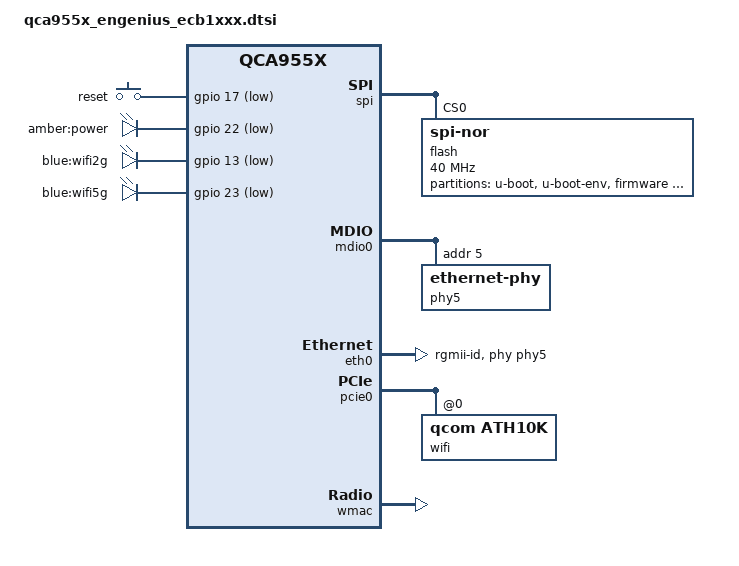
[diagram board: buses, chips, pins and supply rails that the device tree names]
// SPDX-License-Identifier: GPL-2.0-or-later OR MIT

#include "qca955x.dtsi"

#include <dt-bindings/gpio/gpio.h>
#include <dt-bindings/input/input.h>

/ {
	aliases {
		led-boot = &led_power;
		led-failsafe = &led_power;
		led-running = &led_power;
		led-upgrade = &led_power;
	};

	keys {
		compatible = "gpio-keys";

		reset {
			label = "reset";
			debounce-interval = <60>;
			gpios = <&gpio 17 GPIO_ACTIVE_LOW>;
			linux,code = <KEY_RESTART>;
		};
	};

	leds {
		compatible = "gpio-leds";

		led_power: power {
			label = "amber:power";
			gpios = <&gpio 22 GPIO_ACTIVE_LOW>;
			default-state = "on";
		};

		wifi2g {
			label = "blue:wifi2g";
			gpios = <&gpio 13 GPIO_ACTIVE_LOW>;
			linux,default-trigger = "phy1tpt";
		};

		wifi5g {
			label = "blue:wifi5g";
			gpios = <&gpio 23 GPIO_ACTIVE_LOW>;
			linux,default-trigger = "phy0tpt";
		};
	};
};

&spi {
	status = "okay";

	flash@0 {
		compatible = "jedec,spi-nor";
		reg = <0>;
		spi-max-frequency = <40000000>;

		partitions {
			compatible = "fixed-partitions";
			#address-cells = <1>;
			#size-cells = <1>;

			partition@0 {
				label = "u-boot";
				reg = <0x000000 0x040000>;
				read-only;
			};

			partition@40000 {
				label = "u-boot-env";
				reg = <0x040000 0x010000>;
			};

			partition@50000 {
				compatible = "denx,uimage";
				label = "firmware";
				reg = <0x050000 0xf50000>;
			};

			partition@fa0000 {
				label = "userconfig";
				reg = <0xfa0000 0x050000>;
				read-only;
			};

			partition@ff0000 {
				label = "art";
				reg = <0xff0000 0x010000>;
				read-only;
			};
		};
	};
};

&mdio0 {
	status = "okay";

	phy5: ethernet-phy@5 {
		reg = <5>;
		eee-broken-100tx;
		eee-broken-1000t;
	};
};

&eth0 {
	status = "okay";

	phy-handle = <&phy5>;
	phy-mode = "rgmii-id";

	pll-data = <0x82000000 0x80000101 0x80001313>;

	gmac-config {
		device = <&gmac>;
		rgmii-enabled = <1>;
	};
};

&pcie0 {
	status = "okay";

	wifi@0,0,0 {
		compatible = "qcom,ath10k";
		reg = <0x0 0 0 0 0>;
		qca,no-eeprom;
	};
};

&wmac {
	status = "okay";

	qca,no-eeprom;
};
